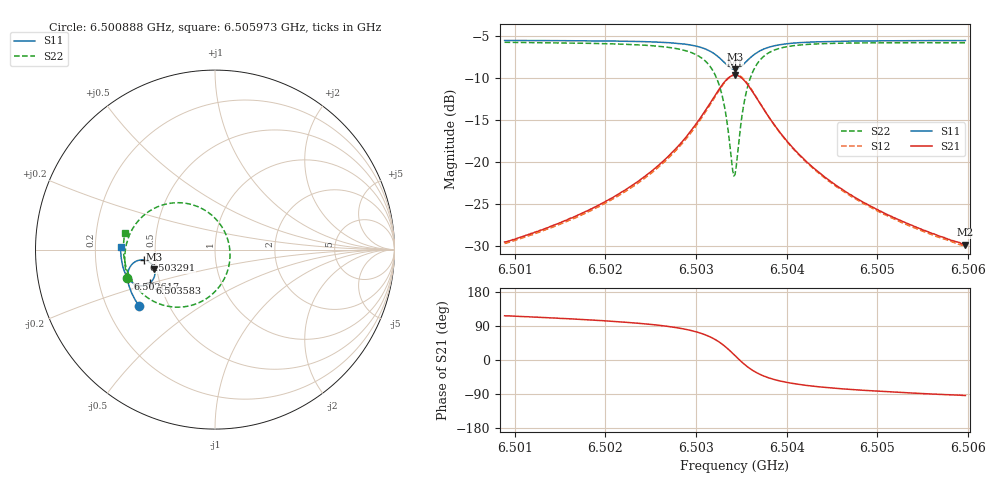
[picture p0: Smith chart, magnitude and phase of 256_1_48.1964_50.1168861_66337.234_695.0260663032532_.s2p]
#  HZ  S  RI  R  50.00
! Rohde & Schwarz Vector Network Analyzer
! Rohde-Schwarz,ZNB20-2Port,1311601062101988,3.16
! Created: UTC 3/20/2024, 11:47:33 AM
! freq[Hz]  re:S11  im:S11  re:S21  im:S21  re:S12  im:S12  re:S22  im:S22
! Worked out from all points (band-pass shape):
!   401 points, 6.500888 GHz to 6.505973 GHz, reference 50 ohm
!   highest |S21| = -9.69 dB at 6.503431 GHz (marker M1); lowest = -29.9 dB at 6.505973 GHz (marker M2)
!   |S21| within 3 dB of the highest: 6.503176 GHz to 6.503685 GHz (508.6 kHz wide, 0.00782 % of centre)
!   lowest |S11| = -9.0 dB at 6.503431 GHz (marker M3), VSWR 2.10, Z = 24.3 - j6 ohm
!   |S11| at or under -10 dB: nowhere
!   |S22| runs from -21.7 to -5.8 dB; largest |S21 - S12| = 0.011
!   S11 on the Smith chart (normalised r, x): 6.500888 GHz: 0.34, -0.29; 6.502617 GHz: 0.33, -0.15; 6.503291 GHz: 0.43, -0.06; 6.503583 GHz: 0.44, -0.20; 6.505973 GHz: 0.31, +0.01
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6.5008883e9  -0.4233 -0.3132  -0.015 0.0298  -0.0133 0.0298  -0.4882 -0.1596
6.50174e9  -0.4604 -0.2507  -0.0145 0.0473  -0.012 0.0467  -0.5024 -0.0701
6.5022231e9  -0.4774 -0.2079  -0.0115 0.0671  -0.0084 0.0662  -0.4995 -0.00191
6.5025917e9  -0.4864 -0.1675  -0.00252 0.0957  0.00103 0.0933  -0.4808 0.0711
6.5026171e9  -0.4867 -0.1643  -0.00153 0.0984  0.00223 0.0961  -0.4786 0.0773
6.5028587e9  -0.4852 -0.1286  0.0181 0.1325  0.0218 0.1287  -0.4372 0.1482
6.5030366e9  -0.4724 -0.0949  0.0553 0.1695  0.0586 0.1639  -0.3643 0.2152
6.5031892e9  -0.4388 -0.0645  0.1296 0.1999  0.1308 0.1934  -0.2281 0.2605
6.5032909e9  -0.3959 -0.0579  0.2152 0.1905  0.2155 0.1852  -0.0791 0.2318
6.5033417e9  -0.3703 -0.0668  0.2636 0.1622  0.2646 0.1577  0.00138 0.1735
6.5034053e9  -0.3438 -0.0935  0.3111 0.0982  0.3136 0.0933  0.0727 0.0507
6.5034307e9  -0.3375 -0.1081  0.3209 0.0661  0.3242 0.0603  0.0833 -0.00944
6.5034561e9  -0.3346 -0.1236  0.3246 0.0325  0.3279 0.0255  0.081 -0.0706
6.5035197e9  -0.3419 -0.1606  0.3063 -0.045  0.3082 -0.055  0.0252 -0.2052
6.5035833e9  -0.363 -0.1863  0.2634 -0.0987  0.2621 -0.11  -0.0716 -0.2871
6.503685e9  -0.4024 -0.2013  0.1888 -0.1344  0.1835 -0.1437  -0.2211 -0.3205
6.5038502e9  -0.4484 -0.1917  0.1078 -0.1312  0.1007 -0.1363  -0.3672 -0.2737
6.5040282e9  -0.4754 -0.1702  0.0635 -0.1113  0.0573 -0.1135  -0.4387 -0.2091
6.5042824e9  -0.4962 -0.1404  0.0339 -0.0871  0.029 -0.0877  -0.4818 -0.137
6.5047019e9  -0.5127 -0.097  0.0135 -0.0624  0.0105 -0.0619  -0.5051 -0.0563
6.5051341e9  -0.5212 -0.0573  0.00496 -0.0477  0.00271 -0.047  -0.5101 0.0035
6.5059731e9  -0.5259 0.0135  -0.00208 -0.0321  -0.00336 -0.0313  -0.5022 0.0916
